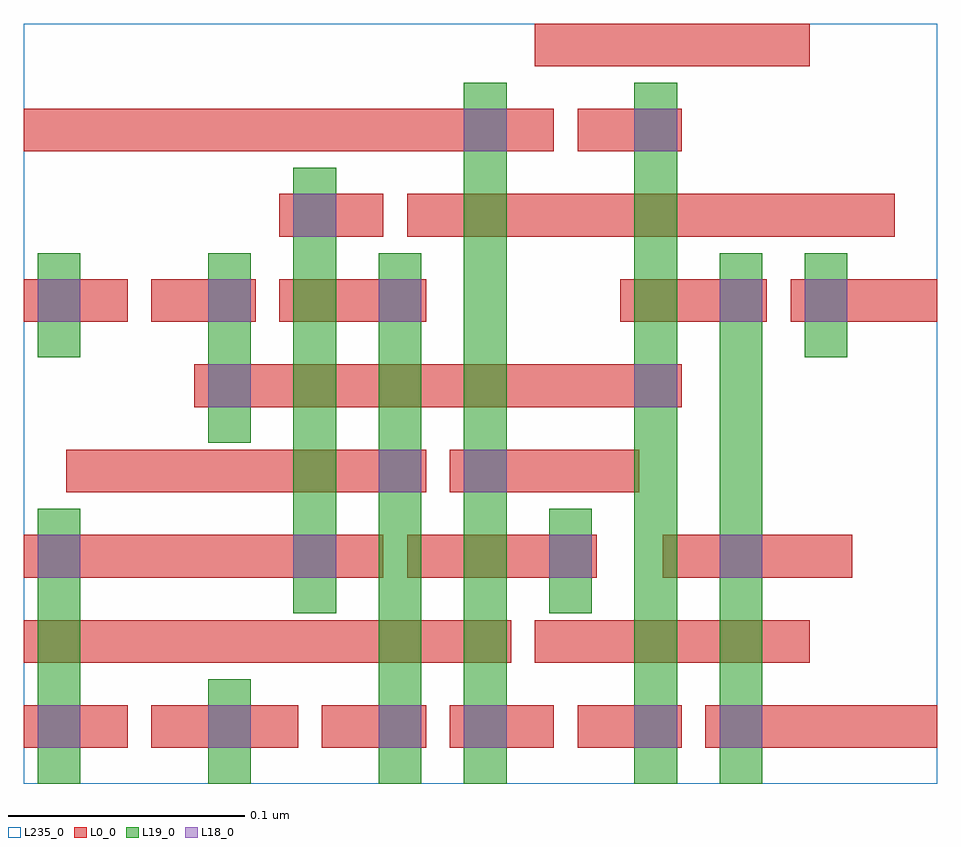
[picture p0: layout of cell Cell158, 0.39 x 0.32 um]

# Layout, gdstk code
import gdstk
lib = gdstk.Library(unit=1e-6, precision=2.5e-10)
def R(c, l, rs):  # rectangles x0, y0, x1, y1
    for r in rs: c.add(gdstk.rectangle(r[:2], r[2:], *l))
def A(c, l, x, y, w, h, nx, ny, dx, dy):  # array of equal rectangles
    R(c, l, [(x+i*dx, y+j*dy, x+i*dx+w, y+j*dy+h) for i in range(nx) for j in range(ny)])
L0_0 = (0, 0)
L18_0 = (18, 0)
L19_0 = (19, 0)
L235_0 = (235, 0)

cell158 = lib.new_cell('Cell158')
A(cell158, L0_0, 0.13, -0.001, 0.044, 0.018, 3, 1, 0.054, 0)
R(cell158, L0_0, [(0.004,-0.001,0.048,0.017), (0.058,-0.001,0.12,0.017), (0.292,-0.001,0.39,0.017), (0.004,0.035,0.21,0.053), (0.22,0.035,0.336,0.053), (0.004,0.071,0.156,0.089), (0.166,0.071,0.246,0.089), (0.274,0.071,0.354,0.089), (0.022,0.107,0.174,0.125), (0.184,0.107,0.264,0.125), (0.076,0.143,0.282,0.161), (0.004,0.179,0.048,0.197), (0.058,0.179,0.102,0.197), (0.112,0.179,0.174,0.197), (0.256,0.179,0.318,0.197), (0.328,0.179,0.39,0.197), (0.112,0.215,0.156,0.233), (0.166,0.215,0.372,0.233), (0.004,0.251,0.228,0.269), (0.238,0.251,0.282,0.269), (0.22,0.287,0.336,0.305)])
A(cell158, L18_0, 0.01, -0.001, 0.018, 0.018, 3, 2, 0.072, 0.18)
A(cell158, L18_0, 0.01, 0.071, 0.018, 0.018, 3, 1, 0.108, 0)
R(cell158, L18_0, [(0.19,-0.001,0.208,0.017), (0.262,-0.001,0.28,0.017), (0.298,-0.001,0.316,0.017), (0.298,0.071,0.316,0.089), (0.154,0.107,0.172,0.125), (0.19,0.107,0.208,0.125), (0.082,0.143,0.1,0.161), (0.262,0.143,0.28,0.161), (0.298,0.179,0.316,0.197), (0.334,0.179,0.352,0.197), (0.118,0.215,0.136,0.233), (0.19,0.251,0.208,0.269), (0.262,0.251,0.28,0.269)])
R(cell158, L19_0, [(0.01,-0.016,0.028,0.1), (0.082,-0.016,0.1,0.028), (0.154,-0.016,0.172,0.208), (0.19,-0.016,0.208,0.28), (0.262,-0.016,0.28,0.28), (0.298,-0.016,0.316,0.208), (0.118,0.056,0.136,0.244), (0.226,0.056,0.244,0.1), (0.082,0.128,0.1,0.208), (0.01,0.164,0.028,0.208), (0.334,0.164,0.352,0.208)])
R(cell158, L235_0, [(0.004,-0.016,0.39,0.305)])

lib.write_gds('Cell158.gds')
